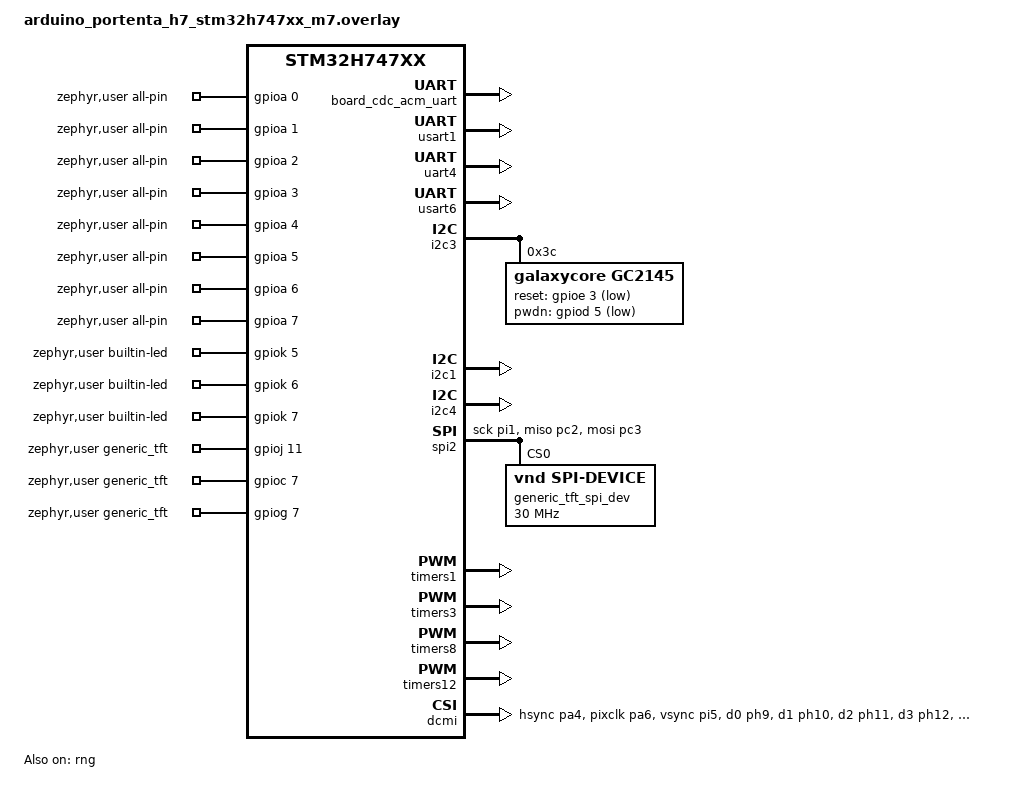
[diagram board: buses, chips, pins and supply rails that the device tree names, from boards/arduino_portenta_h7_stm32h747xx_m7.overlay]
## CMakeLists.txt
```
# SPDX-License-Identifier: Apache-2.0

cmake_minimum_required(VERSION 3.20.0)
find_package(Zephyr REQUIRED HINTS $ENV{ZEPHYR_BASE})
project(ili9341_touch)

#include(../common/common.cmake)
FILE(GLOB app_sources src/*.cpp  app_sources src/*.c app_sources ../common/src/*.cpp ../common/src/*.c ../ILI9341_library/src/*.cpp ../ILI9341_library/src/*.c ../ST77XX_library/src/*.cpp ../ST77XX_library/src/*.c)
target_include_directories(app PRIVATE ../common/include ../ILI9341_library/include ../ST77XX_library/include)
target_sources(app PRIVATE ${app_sources})
```

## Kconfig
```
# VIDEO resolution settings

# Copyright (c) 2024 Charles Dias <charlesdias.cd@outlook.com>
# SPDX-License-Identifier: Apache-2.0

mainmenu "Video capture to LVGL sample application"

menu "Video capture configuration"

config VIDEO_FRAME_WIDTH
	int "Define the width of the video"
	default 320

config VIDEO_FRAME_HEIGHT
	int "Define the height of the video"
	default 240

config VIDEO_SOURCE_CROP_WIDTH
	int "Define the crop width of the video"
	default 0

config VIDEO_SOURCE_CROP_HEIGHT
	int "Define the crop height of the video"
	default 0

config VIDEO_SOURCE_CROP_WIDTH
	int "Define the crop width of the video"
	default 0

config VIDEO_SOURCE_CROP_HEIGHT
	int "Define the crop height of the video"
	default 0

config VIDEO_SOURCE_CROP_TOP
	int "Define the crop top edge of the video"
	default 0

config VIDEO_SOURCE_CROP_LEFT
	int "Define the crop left of the video"
	default 0

config VIDEO_HFLIP
	bool "Horizontal flip"
	default n

config VIDEO_VFLIP
	bool "Vertical flip"
	default n

config  USB_DEVICE_MANUFACTURER
	string "USB device sample manufacturer string"
	default "Zephyr Project"
	help
	  USB device Nanufacturer string.

config  USB_DEVICE_PRODUCT
	string "USB device sample product string"
	default "USBD sample"
	help
	  USB device product stringa.

config  USB_DEVICE_PID
	hex "USB device Product ID"
	default 0x0001
	help
	  USB device sample Product ID.

config  USB_DEVICE_VID
	hex "USB device sample Product ID"
	default 0x0001
	help
	  USB device sample Product ID.

endmenu

source "Kconfig.zephyr"
```

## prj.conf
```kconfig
CONFIG_LOG=y
CONFIG_SERIAL=y
CONFIG_UART_INTERRUPT_DRIVEN=y
CONFIG_UART_LINE_CTRL=y
CONFIG_USB_DEVICE_INITIALIZE_AT_BOOT=n
CONFIG_GPIO=y
CONFIG_STATIC_INIT_GNU=y

# Enable uart driver
CONFIG_SERIAL=y

CONFIG_SHELL=y
CONFIG_SHELL_STACK_SIZE=2048
CONFIG_SHELL_CMD_BUFF_SIZE=2048
CONFIG_SHELL_LOG_LEVEL_DBG=n

# Console
CONFIG_CONSOLE=y
CONFIG_UART_CONSOLE=y

CONFIG_VIDEO_FRAME_WIDTH=320
CONFIG_VIDEO_FRAME_HEIGHT=240

#CONFIG_VIDEO_SOURCE_CROP_WIDTH=480
#CONFIG_VIDEO_SOURCE_CROP_HEIGHT=320
```

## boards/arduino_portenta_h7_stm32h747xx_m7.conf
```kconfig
CONFIG_USB_DEVICE_STACK_NEXT=y
CONFIG_USB_DEVICE_PRODUCT="Arduino Portenta H7"
CONFIG_USB_DEVICE_MANUFACTURER="Arduino"
CONFIG_USB_DEVICE_VID=0x2341
CONFIG_USB_DEVICE_PID=0x005b
CONFIG_USB_DEVICE_INITIALIZE_AT_BOOT=n

CONFIG_SERIAL=y
CONFIG_UART_LINE_CTRL=y
CONFIG_USBD_CDC_ACM_CLASS=y
#CONFIG_CDC_ACM_DTE_RATE_CALLBACK_SUPPORT=y
CONFIG_USBD_CDC_ACM_LOG_LEVEL_ERR=y
CONFIG_UDC_DRIVER_LOG_LEVEL_ERR=y
CONFIG_UDC_DRIVER_HIGH_SPEED_SUPPORT_ENABLED=y
CONFIG_USBD_LOG_LEVEL_ERR=y

#CONFIG_LLEXT_STORAGE_WRITABLE=n

CONFIG_SHARED_MULTI_HEAP=y
CONFIG_HEAP_MEM_POOL_SIZE=2048
CONFIG_SHELL_STACK_SIZE=32768
CONFIG_MAIN_STACK_SIZE=32768
#CONFIG_LLEXT_HEAP_SIZE=128

CONFIG_FPU=y
CONFIG_ICACHE=y
CONFIG_DCACHE=y
CONFIG_CACHE_MANAGEMENT=y

CONFIG_USERSPACE=n
CONFIG_ARM_MPU=y
#CONFIG_MAX_THREAD_BYTES=4

#CONFIG_SHELL_STACK_SIZE=32768
#CONFIG_MAIN_STACK_SIZE=32768
#CONFIG_LLEXT_HEAP_SIZE=128

CONFIG_GPIO=y
CONFIG_ADC=y
CONFIG_PWM=y
CONFIG_DMA=y
CONFIG_MEMC=y
CONFIG_SPI=y
CONFIG_SPI_ASYNC=y
CONFIG_SPI_STM32_INTERRUPT=y

CONFIG_NET_CORE_LOG_LEVEL_DBG=y


CONFIG_VIDEO=y
CONFIG_VIDEO_LOG_LEVEL_DBG=n
CONFIG_VIDEO_STM32_DCMI=y
CONFIG_VIDEO_BUFFER_POOL_NUM_MAX=1
CONFIG_VIDEO_BUFFER_POOL_SZ_MAX=614400
CONFIG_VIDEO_BUFFER_POOL_ALIGN=32
CONFIG_VIDEO_BUFFER_USE_SHARED_MULTI_HEAP=y
CONFIG_VIDEO_BUFFER_SMH_ATTRIBUTE=2

CONFIG_FLASH=y
CONFIG_STM32H7_BOOT_M4_AT_INIT=n 
CONFIG_STATIC_INIT_GNU=y
CONFIG_VIDEO_GC2145=y

# from prj.conf... of Arduino
CONFIG_LOG=y
CONFIG_LOG_MODE_IMMEDIATE=y
```

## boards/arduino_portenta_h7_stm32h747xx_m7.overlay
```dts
/* This is copy of the Arduino setup */
&board_cdc_acm_uart {
	status = "okay";
};

&usart1 {
	status = "okay";
};

&uart4 {
	status = "okay";
};

&usart6 {
	status = "okay";
};

&i2c3 {
	status = "okay";

	gc2145: gc2145@3c {
		compatible = "galaxycore,gc2145";
		reg = <0x3c>;
		status = "okay";

		reset-gpios = <&gpioe 3 GPIO_ACTIVE_LOW>;
		pwdn-gpios = <&gpiod 5 GPIO_ACTIVE_LOW>;

		port {
			gc2145_ep_out: endpoint {
				remote-endpoint-label = "dcmi_ep_in";
			};
		};
	};

	//hm01b0: hm01b0@24 {
	//	compatible = "himax,hm01b0";
	//	reg = <0x24>;
	//	status = "okay";
	//	reset-gpios = <&gpioe 3 GPIO_ACTIVE_HIGH>;
	//	pwdn-gpios = <&gpiod 5 GPIO_ACTIVE_LOW>;
	//	data-bits = <1>;
	//	port {
	//		hm01b0_ep_out: endpoint {
	//			remote-endpoint-label = "dcmi_ep_in";
	//		};
	//	};
	//};
};

&i2c1 {
	status = "okay";
};

&i2c4 {
	status = "okay";
};

&spi2 {
	status = "okay";
	pinctrl-0 = <&spi2_sck_pi1
		     &spi2_miso_pc2 &spi2_mosi_pc3>;
	pinctrl-names = "default";
	/* added for sketch */
	generic_tft_spi_dev: generic_tft_spi_dev@0 {
		status = "okay";
		compatible = "vnd,spi-device";
		reg = <0>;
		spi-max-frequency = <30000000>;
		//io-channels = <&gpioj 11 GPIO_ACTIVE_HIGH>,	/* CS D2 */
		//		<&gpioc 7 GPIO_ACTIVE_HIGH>,	/* DC D4 */
		//		<&gpiog 7 GPIO_ACTIVE_HIGH>;	/* RST D3 */
		//io-channel-names = "CS", "DC", "RST";

	};

};

&timers1 {
	status = "okay";
	st,prescaler = <0>;

	pwm1: pwm {
		status = "okay";
		pinctrl-0 = <&tim1_ch1_pa8 &tim1_ch2_pj11>;
		pinctrl-names = "default";
	};
};

&timers3 {
	status = "okay";
	st,prescaler = <100>;

	pwm3: pwm {
		status = "okay";
		pinctrl-0 = <&tim3_ch1_pc6 &tim3_ch2_pc7>;
		pinctrl-names = "default";
	};
};

&timers8 {
	status = "okay";
	st,prescaler = <100>;

	pwm8: pwm {
		status = "okay";
		pinctrl-0 = <&tim8_ch3n_ph15 &tim8_ch2_pj10 &tim8_ch2n_pj7>;
		pinctrl-names = "default";
	};
};

&timers12 {
	status = "okay";
	st,prescaler = <100>;

	pwm12: pwm {
		status = "okay";
		pinctrl-0 = <&tim12_ch1_ph6>;
		pinctrl-names = "default";
	};
};

&pwm1 {
	/* Camera source clock */
	pwmclock: pwmclock {
		status = "okay";
		compatible = "pwm-clock";
		clock-frequency = <0>;
		#clock-cells = <1>;
		pwms = <&pwm1 1 PWM_HZ(12000000) PWM_POLARITY_NORMAL>;
		/* 12MHz for 7670, default is also 12MHz */
	};
};

&rng {
	status = "okay";
};

&dmamux1 {
	status = "okay";
};

&dma1 {
	status = "okay";
};

&dcmi {
	status = "okay";
	/* ext-sdram = <&sdram1>; */
	pinctrl-0 = <&dcmi_hsync_pa4 &dcmi_pixclk_pa6 &dcmi_vsync_pi5
		     &dcmi_d0_ph9 &dcmi_d1_ph10 &dcmi_d2_ph11 &dcmi_d3_ph12
		     &dcmi_d4_ph14 &dcmi_d5_pi4 &dcmi_d6_pi6 &dcmi_d7_pi7>;
	pinctrl-names = "default";
	dmas = <&dma1 0 75 (STM32_DMA_PERIPH_TO_MEMORY | STM32_DMA_PERIPH_NO_INC |
			    STM32_DMA_MEM_INC | STM32_DMA_PERIPH_32BITS | STM32_DMA_MEM_32BITS |
			    STM32_DMA_PRIORITY_HIGH) STM32_DMA_FIFO_FULL>; //FULL for 7670, default FIFO_1_4

	port {
		dcmi_ep_in: endpoint {
			remote-endpoint-label = "gc2145_ep_out";
			//remote-endpoint-label = "hm01b0_ep_out";
			bus-width = <8>;
			hsync-active = <0>;
			vsync-active = <0>;
			pclk-sample = <1>;
		};
	};
};


/ {
	chosen {
		zephyr,camera = &dcmi;
		zephyr,console = &usart6;
		zephyr,shell-uart = &usart6;
		zephyr,cdc-acm-uart0 = &usart6;
	};

};


/ {
	zephyr,user {
		all-pin-gpios = 
					<&gpioa 0 0>,
				    <&gpioa 1 0>,
				    <&gpioa 2 0>,
				    <&gpioa 3 0>,
				    <&gpioa 4 0>,
				    <&gpioa 5 0>,
				    <&gpioa 6 0>,
				    <&gpioa 7 0>,
				    <&gpioa 8 0>,
				    <&gpioa 9 0>,
				    <&gpioa 10 0>,
				    <&gpioa 11 0>,
				    <&gpioa 12 0>,
				    <&gpioa 13 0>,
				    <&gpioa 14 0>,
				    <&gpioa 15 0>,

					<&gpiob 0 0>,
				    <&gpiob 1 0>,
				    <&gpiob 2 0>,
				    <&gpiob 3 0>,
				    <&gpiob 4 0>,
				    <&gpiob 5 0>,
				    <&gpiob 6 0>,
				    <&gpiob 7 0>,
				    <&gpiob 8 0>,
				    <&gpiob 9 0>,
				    <&gpiob 10 0>,
				    <&gpiob 11 0>,
				    <&gpiob 12 0>,
				    <&gpiob 13 0>,
				    <&gpiob 14 0>,
				    <&gpiob 15 0>,

					<&gpioc 0 0>,
				    <&gpioc 1 0>,
				    <&gpioc 2 0>,
				    <&gpioc 3 0>,
				    <&gpioc 4 0>,
				    <&gpioc 5 0>,
				    <&gpioc 6 0>,
				    <&gpioc 7 0>,
				    <&gpioc 8 0>,
				    <&gpioc 9 0>,
				    <&gpioc 10 0>,
				    <&gpioc 11 0>,
				    <&gpioc 12 0>,
				    <&gpioc 13 0>,
				    <&gpioc 14 0>,
				    <&gpioc 15 0>,

					<&gpiod 0 0>,
				    <&gpiod 1 0>,
				    <&gpiod 2 0>,
				    <&gpiod 3 0>,
				    <&gpiod 4 0>,
				    <&gpiod 5 0>,
				    <&gpiod 6 0>,
				    <&gpiod 7 0>,
				    <&gpiod 8 0>,
				    <&gpiod 9 0>,
				    <&gpiod 10 0>,
				    <&gpiod 11 0>,
				    <&gpiod 12 0>,
				    <&gpiod 13 0>,
				    <&gpiod 14 0>,
				    <&gpiod 15 0>,

					<&gpioe 0 0>,
				    <&gpioe 1 0>,
				    <&gpioe 2 0>,
				    <&gpioe 3 0>,
				    <&gpioe 4 0>,
				    <&gpioe 5 0>,
				    <&gpioe 6 0>,
				    <&gpioe 7 0>,
				    <&gpioe 8 0>,
				    <&gpioe 9 0>,
				    <&gpioe 10 0>,
				    <&gpioe 11 0>,
				    <&gpioe 12 0>,
				    <&gpioe 13 0>,
				    <&gpioe 14 0>,
				    <&gpioe 15 0>,

					<&gpioe 0 0>,
				    <&gpioe 1 0>,
				    <&gpioe 2 0>,
				    <&gpioe 3 0>,
				    <&gpioe 4 0>,
				    <&gpioe 5 0>,
				    <&gpioe 6 0>,
				    <&gpioe 7 0>,
				    <&gpioe 8 0>,
				    <&gpioe 9 0>,
				    <&gpioe 10 0>,
				    <&gpioe 11 0>,
				    <&gpioe 12 0>,
				    <&gpioe 13 0>,
				    <&gpioe 14 0>,
				    <&gpioe 15 0>,

					<&gpiof 0 0>,
				    <&gpiof 1 0>,
				    <&gpiof 2 0>,
				    <&gpiof 3 0>,
				    <&gpiof 4 0>,
				    <&gpiof 5 0>,
				    <&gpiof 6 0>,
				    <&gpiof 7 0>,
				    <&gpiof 8 0>,
				    <&gpiof 9 0>,
				    <&gpiof 10 0>,
				    <&gpiof 11 0>,
				    <&gpiof 12 0>,
				    <&gpiof 13 0>,
				    <&gpiof 14 0>,
				    <&gpiof 15 0>,

					<&gpiog 0 0>,
				    <&gpiog 1 0>,
				    <&gpiog 2 0>,
				    <&gpiog 3 0>,
				    <&gpiog 4 0>,
				    <&gpiog 5 0>,
				    <&gpiog 6 0>,
				    <&gpiog 7 0>,
				    <&gpiog 8 0>,
				    <&gpiog 9 0>,
				    <&gpiog 10 0>,
				    <&gpiog 11 0>,
				    <&gpiog 12 0>,
				    <&gpiog 13 0>,
				    <&gpiog 14 0>,
				    <&gpiog 15 0>,

					<&gpiog 0 0>,
				    <&gpiog 1 0>,
				    <&gpiog 2 0>,
				    <&gpiog 3 0>,
				    <&gpiog 4 0>,
				    <&gpiog 5 0>,
				    <&gpiog 6 0>,
				    <&gpiog 7 0>,
				    <&gpiog 8 0>,
				    <&gpiog 9 0>,
				    <&gpiog 10 0>,
				    <&gpiog 11 0>,
				    <&gpiog 12 0>,
				    <&gpiog 13 0>,
				    <&gpiog 14 0>,
				    <&gpiog 15 0>,

					<&gpioh 0 0>,
				    <&gpioh 1 0>,
				    <&gpioh 2 0>,
				    <&gpioh 3 0>,
				    <&gpioh 4 0>,
				    <&gpioh 5 0>,
				    <&gpioh 6 0>,
				    <&gpioh 7 0>,
				    <&gpioh 8 0>,
				    <&gpioh 9 0>,
				    <&gpioh 10 0>,
				    <&gpioh 11 0>,
				    <&gpioh 12 0>,
				    <&gpioh 13 0>,
				    <&gpioh 14 0>,
				    <&gpioh 15 0>,

					<&gpioi 0 0>,
				    <&gpioi 1 0>,
				    <&gpioi 2 0>,
				    <&gpioi 3 0>,
				    <&gpioi 4 0>,
				    <&gpioi 5 0>,
				    <&gpioi 6 0>,
				    <&gpioi 7 0>,
				    <&gpioi 8 0>,
				    <&gpioi 9 0>,
				    <&gpioi 10 0>,
				    <&gpioi 11 0>,
				    <&gpioi 12 0>,
				    <&gpioi 13 0>,
				    <&gpioi 14 0>,
				    <&gpioi 15 0>,

					<&gpioj 0 0>,
				    <&gpioj 1 0>,
				    <&gpioj 2 0>,
				    <&gpioj 3 0>,
				    <&gpioj 4 0>,
				    <&gpioj 5 0>,
				    <&gpioj 6 0>,
				    <&gpioj 7 0>,
				    <&gpioj 8 0>,
				    <&gpioj 9 0>,
				    <&gpioj 10 0>,
				    <&gpioj 11 0>,
				    <&gpioj 12 0>,
				    <&gpioj 13 0>,
				    <&gpioj 14 0>,
				    <&gpioj 15 0>,

					<&gpiok 0 0>,
				    <&gpiok 1 0>,
				    <&gpiok 2 0>,
				    <&gpiok 3 0>,
				    <&gpiok 4 0>,
				    <&gpiok 5 0>,
				    <&gpiok 6 0>,
				    <&gpiok 7 0>;

		builtin-led-gpios = <&gpiok 5 0>,
				    <&gpiok 6 0>,
				    <&gpiok 7 0>;

	};
};

/* This apps setup */
/ {

	zephyr,user {
		generic_tft-gpios = <&gpioj 11 GPIO_ACTIVE_HIGH>,	/* CS D2 */
						<&gpioc 7 GPIO_ACTIVE_HIGH>,	/* DC D4 */
						<&gpiog 7 GPIO_ACTIVE_HIGH>;	/* RST D3 */
						/* <&gpio1 30 GPIO_ACTIVE_LOW>;	touch cs Pin 26 */

	};
	
	chosen {


	};
};
```

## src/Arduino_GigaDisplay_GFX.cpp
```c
#include "Arduino_GigaDisplay_GFX.h"
#include "Arduino_GigaDisplay.h"
#ifdef LATER
GigaDisplay_GFX::GigaDisplay_GFX() : Adafruit_GFX(480, 800) {

}

GigaDisplay_GFX::~GigaDisplay_GFX(void) {
  if (buffer)
    free(buffer);
}

//rtos::Semaphore refresh_sem(1);

void GigaDisplay_GFX::begin() {
    display = new Display();
    display->begin();
#ifdef CONFIG_SHARED_MULTI_HEAP
    void* ptrFB = this->display->getFrameBuffer();
    if (ptrFB == nullptr){
      Serial.println("Memory not allocated successfully." );
      while(1){}
    }
    // Cast the void pointer to an int pointer to use it
    buffer = static_cast<uint16_t*>(ptrFB);
    //buffer = (uint16_t*)shared_multi_heap_aligned_alloc(SMH_REG_ATTR_EXTERNAL, 16, (this->width() * this-> height() * sizeof(uint16_t)));
#else
    SDRAM.begin();
    buffer = (uint16_t*)SDRAM.malloc(this->width() * this-> height() * sizeof(uint16_t));
#endif    
    sizeof_framebuffer = this->width() * this-> height() * sizeof(uint16_t);
    this->display->setFrameDesc(this->width(), this-> height(), this-> width(), sizeof_framebuffer);
    //Serial.print("Buffer: 0x"); Serial.println((uint32_t)buffer, HEX);
    
    // turn on the display backlight
    pinMode(74, OUTPUT);
    digitalWrite(74, HIGH);
}

void GigaDisplay_GFX::startWrite() {
  //refresh_sem.acquire();
}

void GigaDisplay_GFX::endWrite() {
  //refresh_sem.release();
  if (!buffering)
     this->display->write8(0, 0, buffer);

}

// If buffering, defer endWrite calls until endBuffering is called.
void GigaDisplay_GFX::startBuffering() {
  buffering = true;
}

void GigaDisplay_GFX::endBuffering() {
  if (buffering)
  {
    buffering = false;
    endWrite();
  }
}

void GigaDisplay_GFX::drawPixel(int16_t x, int16_t y, uint16_t color) {
  if (hasBuffer()) {
    if ((x < 0) || (y < 0) || (x >= _width) || (y >= _height))
      return;

    int16_t t;
    switch (rotation) {
      case 1:
        t = x;
        x = WIDTH - 1 - y;
        y = t;
        break;
      case 2:
        x = WIDTH - 1 - x;
        y = HEIGHT - 1 - y;
        break;
      case 3:
        t = x;
        x = y;
        y = HEIGHT - 1 - t;
        break;
    }

    buffer[x + y * WIDTH] = color;
  }
}

uint16_t GigaDisplay_GFX::getPixel(int16_t x, int16_t y) {
  int16_t t;
  switch (rotation) {
    case 1:
      t = x;
      x = WIDTH - 1 - y;
      y = t;
      break;
    case 2:
      x = WIDTH - 1 - x;
      y = HEIGHT - 1 - y;
      break;
    case 3:
      t = x;
      x = y;
      y = HEIGHT - 1 - t;
      break;
  }
  return getRawPixel(x, y);
}

uint16_t GigaDisplay_GFX::getRawPixel(int16_t x, int16_t y) {
  if ((x < 0) || (y < 0) || (x >= WIDTH) || (y >= HEIGHT))
    return 0;
  if (hasBuffer()) {
    return buffer[x + y * WIDTH];
  }
  return 0;
}

void GigaDisplay_GFX::fillScreen(uint16_t color) {
  if (hasBuffer()) {
	startWrite();	// PR #3
    uint8_t hi = color >> 8, lo = color & 0xFF;
    if (hi == lo) {
      memset(buffer, lo, WIDTH * HEIGHT * 2);
    } else {
      uint32_t i, pixels = WIDTH * HEIGHT;
      for (i = 0; i < pixels; i++)
        buffer[i] = color;
    }
    endWrite();		// PR #3
  }
}

void GigaDisplay_GFX::byteSwap(void) {
  if (hasBuffer()) {
    uint32_t i, pixels = WIDTH * HEIGHT;
    for (i = 0; i < pixels; i++)
      buffer[i] = __builtin_bswap16(buffer[i]);
  }
}

void GigaDisplay_GFX::drawFastVLine(int16_t x, int16_t y, int16_t h,
                                    uint16_t color) {
  if (h < 0) { // Convert negative heights to positive equivalent
    h *= -1;
    y -= h - 1;
    if (y < 0) {
      h += y;
      y = 0;
    }
  }

  // Edge rejection (no-draw if totally off canvas)
  if ((x < 0) || (x >= width()) || (y >= height()) || ((y + h - 1) < 0)) {
    return;
  }

  if (y < 0) { // Clip top
    h += y;
    y = 0;
  }
  if (y + h > height()) { // Clip bottom
    h = height() - y;
  }

  if (getRotation() == 0) {
    drawFastRawVLine(x, y, h, color);
  } else if (getRotation() == 1) {
    int16_t t = x;
    x = WIDTH - 1 - y;
    y = t;
    x -= h - 1;
    drawFastRawHLine(x, y, h, color);
  } else if (getRotation() == 2) {
    x = WIDTH - 1 - x;
    y = HEIGHT - 1 - y;

    y -= h - 1;
    drawFastRawVLine(x, y, h, color);
  } else if (getRotation() == 3) {
    int16_t t = x;
    x = y;
    y = HEIGHT - 1 - t;
    drawFastRawHLine(x, y, h, color);
  }
}

void GigaDisplay_GFX::drawFastHLine(int16_t x, int16_t y, int16_t w,
                                    uint16_t color) {
  if (w < 0) { // Convert negative widths to positive equivalent
    w *= -1;
    x -= w - 1;
    if (x < 0) {
      w += x;
      x = 0;
    }
  }

  // Edge rejection (no-draw if totally off canvas)
  if ((y < 0) || (y >= height()) || (x >= width()) || ((x + w - 1) < 0)) {
    return;
  }

  if (x < 0) { // Clip left
    w += x;
    x = 0;
  }
  if (x + w >= width()) { // Clip right
    w = width() - x;
  }

  if (getRotation() == 0) {
    drawFastRawHLine(x, y, w, color);
  } else if (getRotation() == 1) {
    int16_t t = x;
    x = WIDTH - 1 - y;
    y = t;
    drawFastRawVLine(x, y, w, color);
  } else if (getRotation() == 2) {
    x = WIDTH - 1 - x;
    y = HEIGHT - 1 - y;

    x -= w - 1;
    drawFastRawHLine(x, y, w, color);
  } else if (getRotation() == 3) {
    int16_t t = x;
    x = y;
    y = HEIGHT - 1 - t;
    y -= w - 1;
    drawFastRawVLine(x, y, w, color);
  }
}

void GigaDisplay_GFX::drawFastRawVLine(int16_t x, int16_t y, int16_t h,
                                       uint16_t color) {
  startWrite();
  // x & y already in raw (rotation 0) coordinates, no need to transform.
  uint16_t *buffer_ptr = buffer + y * WIDTH + x;
  for (int16_t i = 0; i < h; i++) {
    (*buffer_ptr) = color;
    buffer_ptr += WIDTH;
  }
  endWrite();
}

void GigaDisplay_GFX::drawFastRawHLine(int16_t x, int16_t y, int16_t w,
                                       uint16_t color) {
  startWrite();
  // x & y already in raw (rotation 0) coordinates, no need to transform.
  uint32_t buffer_index = y * WIDTH + x;
  for (uint32_t i = buffer_index; i < buffer_index + w; i++) {
    buffer[i] = color;
  }
  endWrite();
}


void GigaDisplay_GFX::drawGrayscaleBitmapScaled(int16_t width_image, int16_t height_image, uint8_t scale, uint8_t *pixels) {
  
  int yDisplay = (height() - (height_image * scale)) / 2;
  
  for (int yCamera = 0; yCamera < height_image; yCamera++) {
    int xDisplay = (width() - (width_image * scale)) / 2;
    for (int xCamera = 0; xCamera < width_image; xCamera++) {
      uint16_t rgbPixel = color565(*pixels, *pixels, *pixels);
      fillRect(xDisplay, yDisplay, scale, scale, rgbPixel);
      pixels++;
      xDisplay += scale;
    }
    yDisplay += scale;
  }
}

void GigaDisplay_GFX::drawRGBBitmapScaled(int16_t width_image, int16_t height_image, uint8_t scale, uint16_t *pixels) {
  
  int yDisplay = (height() - (height_image * scale)) / 2;
  
  for (int yCamera = 0; yCamera < height_image; yCamera++) {
    int xDisplay = (width() - (width_image * scale)) / 2;
    for (int xCamera = 0; xCamera < width_image; xCamera++) {
      fillRect(xDisplay, yDisplay, scale, scale, *pixels++);
      xDisplay += scale;
    }
    yDisplay += scale;
  }
  
}
  
#endif //later
```

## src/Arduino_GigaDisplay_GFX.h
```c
#ifndef __ARDUINO_GIGADISPLAY_GFX__
#define __ARDUINO_GIGADISPLAY_GFX__
#ifdef LATER
#include "Adafruit_GFX.h"
#include "Arduino_GigaDisplay.h"
//#include "Adafruit_SPITFT.h"


#include "SDRAM.h"

class GigaDisplay_GFX : public Adafruit_GFX {
  public:
    GigaDisplay_GFX();
    ~GigaDisplay_GFX(void);
    void begin();
    void drawPixel(int16_t x, int16_t y, uint16_t color);
    void fillScreen(uint16_t color);
    void byteSwap(void);
    void drawFastVLine(int16_t x, int16_t y, int16_t h, uint16_t color);
    void drawFastHLine(int16_t x, int16_t y, int16_t w, uint16_t color);
    uint16_t getPixel(int16_t x, int16_t y);
    uint16_t *getBuffer(void) {
      return buffer;
    }
    uint16_t *hasBuffer(void) {
      if (!buffer) {
        begin();
      }
      return buffer;
    }

    void drawGrayscaleBitmapScaled(int16_t width_image, int16_t height_image, uint8_t scale, uint8_t *pixels);
    void drawRGBBitmapScaled(int16_t width_image, int16_t height_image, uint8_t scale, uint16_t *pixels);

    void startWrite();
    void endWrite();
    void startBuffering();
    void endBuffering();

    uint16_t color565(uint8_t red, uint8_t green, uint8_t blue) {
      return ((red & 0xF8) << 8) | ((green & 0xFC) << 3) | (blue >> 3);
    }

  protected:
    uint16_t getRawPixel(int16_t x, int16_t y);
    void drawFastRawVLine(int16_t x, int16_t y, int16_t h, uint16_t color);
    void drawFastRawHLine(int16_t x, int16_t y, int16_t w, uint16_t color);
    uint16_t *buffer = nullptr; ///< Raster data: no longer private, allow subclass access

  private:
    Display* display;
    uint32_t sizeof_framebuffer;
    //bool need_refresh = false;
    bool buffering = false;
    uint32_t last_refresh = 0;

};

#endif // LATER
#endif //__ARDUINO_GIGADISPLAY_GFX__
```

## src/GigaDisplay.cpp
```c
/*
 * Copyright 2025 Arduino SA
 *
 * This program is free software: you can redistribute it and/or modify
 * it under the terms of the GNU Lesser General Public License as published by
 * the Free Software Foundation, either version 3 of the License, or
 * (at your option) any later version.
 *
 * This program is distributed in the hope that it will be useful,
 * but WITHOUT ANY WARRANTY; without even the implied warranty of
 * MERCHANTABILITY or FITNESS FOR A PARTICULAR PURPOSE.  See the
 * GNU Lesser General Public License for more details.
 *
 * You should have received a copy of the GNU Lesser General Public License
 * along with this program.  If not, see <https://www.gnu.org/licenses/>.
 *
 * Camera driver.
 */

#include "Arduino.h"
#include "Arduino_GigaDisplay.h"

#include <zephyr/kernel.h>
#include <zephyr/device.h>
#include <zephyr/drivers/display.h>

Display *Display::active_display = nullptr;


#ifdef HAS_ARDUINOGRAPHICS
Display::Display(int width, int height) : ArduinoGraphics(width, height), gdev(NULL)
#else
Display::Display(int width, int height) : gdev(NULL)
#endif
{
  _height   = height;
  _width    = width;
  _rotated = (width >= height) ? true : false;
  printk("height: %d, width: %d, rotated: %d\n", _height, _width, _rotated);
  active_display = this;
}

bool Display::begin(DisplayPixelFormat pixformat) {
  
  int ret = 0;

  #if DT_HAS_CHOSEN(zephyr_display)
  this->gdev = DEVICE_DT_GET(DT_CHOSEN(zephyr_display));
  #endif

  if (!this->gdev || !device_is_ready(this->gdev)) {
    printk("\t<err> Zephy Display Not Ready!...");
      return false;
  }

  // Get capabilities
  struct display_capabilities capabilities = {0};
  display_get_capabilities(this->gdev, &capabilities);

  uint8_t format_spec = 0;
  
  switch (pixformat) {
      case DISPLAY_RGB565:
          //Serial.println("Set RGB565");
          if (capabilities.current_pixel_format != PIXEL_FORMAT_RGB_565) {
            ret = display_set_pixel_format(this->gdev, PIXEL_FORMAT_RGB_565);
          }
          format_spec = 1;
          break;
      case DISPLAY_RGB888:
          //Serial.println("Set RGB888");
          if (capabilities.current_pixel_format != PIXEL_FORMAT_RGB_888) {
            ret = display_set_pixel_format(this->gdev, PIXEL_FORMAT_RGB_888);
          }
          format_spec = 1;
          break;
      default:
          break;
  }

  if(format_spec == 0) {
    Serial.println("\t<err> The specified format is not supported");
    return false;
  }
   
  if (ret) {
		Serial.println("\t<err> Unable to set display format");
		return false;
	}
  
  /*
  display_orientation orientation;
  switch(rotation){
    case 0:
      orientation = DISPLAY_ORIENTATION_NORMAL;
      break;
    case 1:
      orientation = DISPLAY_ORIENTATION_ROTATED_90;
      break;
    case 2:
      orientation = DISPLAY_ORIENTATION_ROTATED_180;
      break;      
    case 3:
      orientation = DISPLAY_ORIENTATION_ROTATED_270;
      break;
    default:
      orientation = DISPLAY_ORIENTATION_NORMAL;
      break;   
  }
  //Rotation not supported
  Serial.print("Orientation: "); Serial.println(orientation);
  ret = display_set_orientation(this->gdev, orientation);
  Serial.println(ret);
  if(ret) {
    Serial.println("\t<err> Failed to set display rotation");
    //return false;
  }
  */
  
  display_get_capabilities(this->gdev, &capabilities);

	printk("- Capabilities:\n");
	printk("  x_resolution = %u, y_resolution = %u\n, supported_pixel_formats = %u\n"
	       "  current_pixel_format = %u, current_orientation = %u\n",
	       capabilities.x_resolution, capabilities.y_resolution,
	       capabilities.supported_pixel_formats, capabilities.current_pixel_format,
	       capabilities.current_orientation);
#ifndef HAS_ARDUINOGRAPHICS
  _height = capabilities.y_resolution;
  _width = capabilities.x_resolution;
#endif
  
#if defined( HAS_ARDUINOGRAPHICS) || __has_include ("lvgl.h") 
  printk("setting up buffer....\n");
  setBlanking(false);
#ifdef CONFIG_SHARED_MULTI_HEAP
  void* ptrFB = getFrameBuffer();
  if (ptrFB == nullptr){
    printk("Memory not allocated successfully." );
    while(1){}
  }
  // Cast the void pointer to an int pointer to use it
  buffer = static_cast<uint16_t*>(ptrFB);
  //buffer = (uint16_t*)shared_multi_heap_aligned_alloc(SMH_REG_ATTR_EXTERNAL, 16, (this->width() * this-> height() * sizeof(uint16_t)));
#else
  SDRAM.begin();
  buffer = (uint16_t*)SDRAM.malloc(this->width() * this-> height() * sizeof(uint16_t));
#endif    
  setBlanking(true);

  sizeof_framebuffer = width() * height() * sizeof(uint16_t);
  setFrameDesc(width(), height(), width(), sizeof_framebuffer);
  Serial.print("Buffer: 0x"); Serial.println((uint32_t)buffer, HEX);
  
  // turn on the display backlight
  pinMode(74, OUTPUT);
  digitalWrite(74, HIGH);
#endif

#ifdef HAS_ARDUINOGRAPHICS
  if (!ArduinoGraphics::begin()) {
    return 1; /* Unknown err */
  }

  textFont(Font_5x7);
#endif //arduinoGraphics



  return true;
}

int Display::write8(const uint16_t x,
            const uint16_t y,
            const void *buf) {
              

//  printk("Display::write8(%u %u %p) %p %x\n", x, y, buf, 
//      &((struct display_driver_api *)gdev->api)->write, *((uint32_t*)(&((struct display_driver_api *)gdev->api)->write)));

  return display_write(this->gdev, x, y, this->buf_desc, buf);
  
}

void Display::setFrameDesc(uint16_t w, uint16_t h, uint16_t pitch, uint32_t buf_size) {
	this->buf_desc->buf_size = buf_size;
	this->buf_desc->width = w;  /** Number of pixels between consecutive rows in the data buffer */
	this->buf_desc->height = h;  /** Data buffer row width in pixels */
	this->buf_desc->pitch = pitch;	/** Data buffer row height in pixels */
    
}

void Display::startFrameBuffering() {

	this->buf_desc->frame_incomplete = false;

}

void Display::endFrameBuffering() {

	this->buf_desc->frame_incomplete = true;

}

int Display::setBlanking(bool on) {
  int ret = 0;
  if(on) {
    ret = display_blanking_on(this->gdev);
  } else {
    ret = display_blanking_off(this->gdev);
  }
  if(ret < 0) {
    return false;
  }
  return true;
}

void* Display::getFrameBuffer() {
  void* fb  = display_get_framebuffer(this->gdev);
  return fb;
}


#ifdef HAS_ARDUINOGRAPHICS
void Display::beginDraw() {
  ArduinoGraphics::beginDraw();
  startFrameBuffering();
  lcdClear(0); 
}

void Display::endDraw() {
  ArduinoGraphics::endDraw();
  
  endFrameBuffering();
}

void Display::clear(){
  uint32_t bg = ArduinoGraphics::background();
  uint32_t x_size, y_size;

  if(_rotated) {
    x_size = (height() <= getDisplayXSize())? height() : getDisplayXSize();
    y_size = (width() <= getDisplayYSize())? width() : getDisplayYSize();
  } else {
    x_size = (width() <= getDisplayXSize())? width() : getDisplayXSize();
    y_size = (height() <= getDisplayYSize())? height() : getDisplayYSize();
  }

  //lcdFillArea((void *)(dsi_getCurrentFrameBuffer()), x_size, y_size, bg);
  lcdClear(bg);
}

void Display::set(int x, int y, uint8_t r, uint8_t g, uint8_t b) {
    uint32_t x_rot, y_rot;

    if ((x < 0) || (y < 0) || (x >= _width) || (y >= _height))
      return;
    
    if (_rotated) {
      x_rot = ((height()-1) - y);
      y_rot = x;
      
      //if (x_rot >= height() || y_rot >= width()) 
      //  return;
    } else {
      x_rot = x;
      y_rot = y;

      //if (x_rot >= width() || y_rot >= height()) 
      //  return;
    }

    if (x_rot >= getDisplayXSize() || y_rot >= getDisplayYSize()) 
      return;
    //printk("%u, %u, %u, %u, %u\n", x, y, x_rot, y_rot, x_rot + (width() * y_rot));

    uint16_t color =  ((r & 0xF8) << 8) | ((g & 0xFC) << 3) | (b >> 3);
    //uint32_t color =  (uint32_t)((uint32_t)(r << 16) | (uint32_t)(g << 8) | (uint32_t)(b << 0));
    buffer[(x_rot + (getDisplayXSize() * y_rot)) ] = color;
    
}

void Display::lcdClear(uint16_t Color) {
	/* Clear the LCD */
  uint8_t hi = Color >> 8, lo = Color & 0xFF;
  if (hi == lo) {
    memset(buffer, lo, width() * height() * 2);
  } else {
    uint32_t i, pixels = width() * height();
    for (i = 0; i < pixels; i++)
      buffer[i] = Color;
  }

}
#endif  //HAS_ARDUINOGRAPHICS
```

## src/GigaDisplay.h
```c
/*
 * Copyright 2025 Arduino SA
 *
 * This program is free software: you can redistribute it and/or modify
 * it under the terms of the GNU Lesser General Public License as published by
 * the Free Software Foundation, either version 3 of the License, or
 * (at your option) any later version.
 *
 * This program is distributed in the hope that it will be useful,
 * but WITHOUT ANY WARRANTY; without even the implied warranty of
 * MERCHANTABILITY or FITNESS FOR A PARTICULAR PURPOSE.  See the
 * GNU Lesser General Public License for more details.
 *
 * You should have received a copy of the GNU Lesser General Public License
 * along with this program.  If not, see <https://www.gnu.org/licenses/>.
 *
 */
#ifndef __GIGA_DISPLAY_H__
#define __GIGA_DISPLAY_H__

#if __has_include ("HasIncludeArduinoGraphics.h")
#include "ArduinoGraphics.h"
#define HAS_ARDUINOGRAPHICS
//#endif

static uint32_t lcd_x_size = 480;
static uint32_t lcd_y_size = 800;

/** 
 * @enum DisplayPixelFormat
 * @brief Display pixel format enumeration.
 * 
 * The different formats use different numbers of bits per pixel:
 * - Grayscale (8-bit)
 * - RGB565 (16-bit)
 */
enum DisplayPixelFormat {
    DISPLAY_RGB565,    /**< RGB565 format (16-bit). */
    DISPLAY_RGB888    /**< RGB888 format (16-bit). */
};

// Color definitions

#define RGB565_BLACK 0x0000       /*   0,   0,   0 */
#define RGB565_NAVY 0x000F        /*   0,   0, 128 */
#define RGB565_DARKGREEN 0x03E0   /*   0, 128,   0 */
#define RGB565_DARKCYAN 0x03EF    /*   0, 128, 128 */
#define RGB565_MAROON 0x7800      /* 128,   0,   0 */
#define RGB565_PURPLE 0x780F      /* 128,   0, 128 */
#define RGB565_OLIVE 0x7BE0       /* 128, 128,   0 */
#define RGB565_LIGHTGREY 0xC618   /* 192, 192, 192 */
#define RGB565_DARKGREY 0x7BEF    /* 128, 128, 128 */
#define RGB565_BLUE 0x001F        /*   0,   0, 255 */
#define RGB565_GREEN 0x07E0       /*   0, 255,   0 */
#define RGB565_CYAN 0x07FF        /*   0, 255, 255 */
#define RGB565_RED 0xF800         /* 255,   0,   0 */
#define RGB565_MAGENTA 0xF81F     /* 255,   0, 255 */
#define RGB565_YELLOW 0xFFE0      /* 255, 255,   0 */
#define RGB565_WHITE 0xFFFF       /* 255, 255, 255 */
#define RGB565_ORANGE 0xFD20      /* 255, 165,   0 */
#define RGB565_GREENYELLOW 0xAFE5 /* 173, 255,  47 */
#define RGB565_PINK 0xF81F

/**
 * @class Display
 * @brief The main class for controlling a camera.
 */
class Display
#ifdef HAS_ARDUINOGRAPHICS
 : public ArduinoGraphics
#endif
{
public:
  /**
  * @brief Construct a new Camera object.
  */
  Display(int width = 800, int height = 480);

  /**
  * @brief Initialize the display
  */
  bool begin(DisplayPixelFormat pixformat = DISPLAY_RGB565);
  
  /**
  * @brief a frame.
  * 
  * @param fb Reference to a FrameBuffer object to store the frame data.
  * @param timeout Time in milliseconds to wait for a frame (default: 5000).
  * @return true if the frame is successfully captured, otherwise false.
  */
  //bool grabFrame(FrameBuffer &fb, uint32_t timeout = 5000);
  
  
  /**
  *
  *
  *
  *
  */
  int write8(const uint16_t x,
      const uint16_t y,
      const void *buf);
      
  void setFrameDesc(uint16_t w, uint16_t h, uint16_t pitch, uint32_t buf_size);
  void startFrameBuffering();
  void endFrameBuffering();

  int setBlanking(bool on);

  void* getFrameBuffer();

  int16_t width(void)  { return _width; }
  int16_t height(void) { return _height; }
    
  uint32_t getDisplayXSize(){
    return lcd_x_size;
  }

  uint32_t getDisplayYSize(){
    return lcd_y_size;
  }


#ifdef HAS_ARDUINOGRAPHICS
  /**
   * @brief Clear the display.
   */
  void clear();

  /**
   * @brief Begin drawing operations on the display.
   */
  virtual void beginDraw();

  /**
   * @brief End drawing operations on the display.
   */
  virtual void endDraw();

  /**
   * @brief Set the color of the pixel at the specified coordinates.
   * 
   * @param x The x-coordinate of the pixel.
   * @param y The y-coordinate of the pixel.
   * @param r The red component of the color.
   * @param g The green component of the color.
   * @param b The blue component of the color.
   */
  virtual void set(int x, int y, uint8_t r, uint8_t g, uint8_t b);
  
  void lcdClear(uint16_t Color);
  
#endif

  // BUGBUG: quick and dirty test for LVGL
  static Display *active_display;
    const struct device *gdev;
  
private:
    struct display_buffer_descriptor *buf_desc;
#if defined( HAS_ARDUINOGRAPHICS) || __has_include ("lvgl.h")
    uint16_t *buffer = nullptr;
    uint32_t sizeof_framebuffer;
#endif
 protected:
    int16_t _height, _width;
    bool    _rotated = false;

};

#endif // __ZEPHYR__
#endif // __GIGA_DISPLAY_H__
```

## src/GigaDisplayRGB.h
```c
#ifndef GigaDisplayRGB_h
#define GigaDisplayRGB_h

class GigaDisplayRGB {
    public:
        GigaDisplayRGB();
        void begin();
        void on(uint8_t,uint8_t,uint8_t);
        void off();
    private:
        void writeByte(uint8_t,uint8_t);
};

#endif
```
